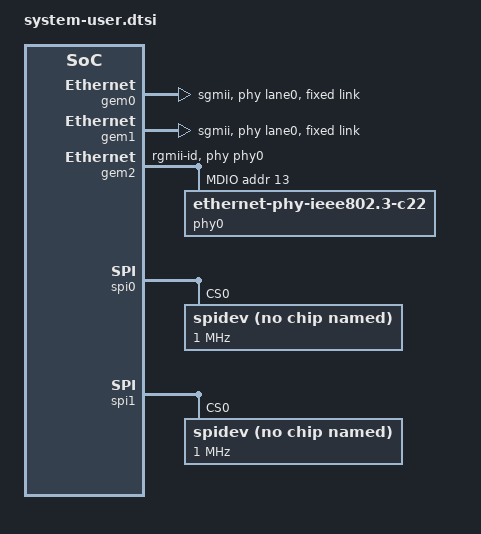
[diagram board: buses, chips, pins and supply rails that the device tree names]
/include/ "system-conf.dtsi"
/ {
};

/* SD */
&sdhci0 {
    disable-wp;
    no-1-8-v;
 
};


&gem0 {
	status = "okay";	
    phys = <&lane0 6 0 2 125000000>;
    phy-mode = "sgmii";
    is-internal-pcspma;
    fixed-link {
        speed = <1000>;
        full-duplex;
    };       
};


&gem1 {
	status = "okay";	
    phys = <&lane0 6 0 2 125000000>;
    phy-mode = "sgmii";
    is-internal-pcspma;
    fixed-link {
        speed = <1000>;
        full-duplex;
    };       
};



&gem2 {
	status = "okay";
	phy-handle = <&phy0>;
	phy-mode = "rgmii-id";  
	xlnx,eth-mode = <0x1>;            
	mdio {
		status = "okay";
		xlnx,has-mdio = <0x1>;
		#address-cells = <1>;		 
		#size-cells = <0>;
		phy0: phy@13 {
					compatible = "ethernet-phy-ieee802.3-c22";
					device_type = "ethernet-phy";
					reg = <13>;
					ti,rx-internal-delay = <0x8>;
					ti,tx-internal-delay = <0xa>;
					ti,fifo-depth = <0x01>;	
					ti,min-output-impedance;
					ti,dp83867-rxctrl-strap-quirk;
					status = "okay";			
		};
	};
};



&spi0 {
	is-decoded-cs = <1>;
	num-cs = <1>;
	status = "okay";

	spidev@0 {
	compatible = "spidev";
	reg =<0>;
	spi-max-frequency = <1000000>;
	};
};

&spi1 {
	is-decoded-cs = <1>;
	num-cs = <1>;
	status = "okay";

	spidev@1 {
	compatible = "spidev";
	reg =<0>;
	spi-max-frequency = <1000000>;
	};
};






